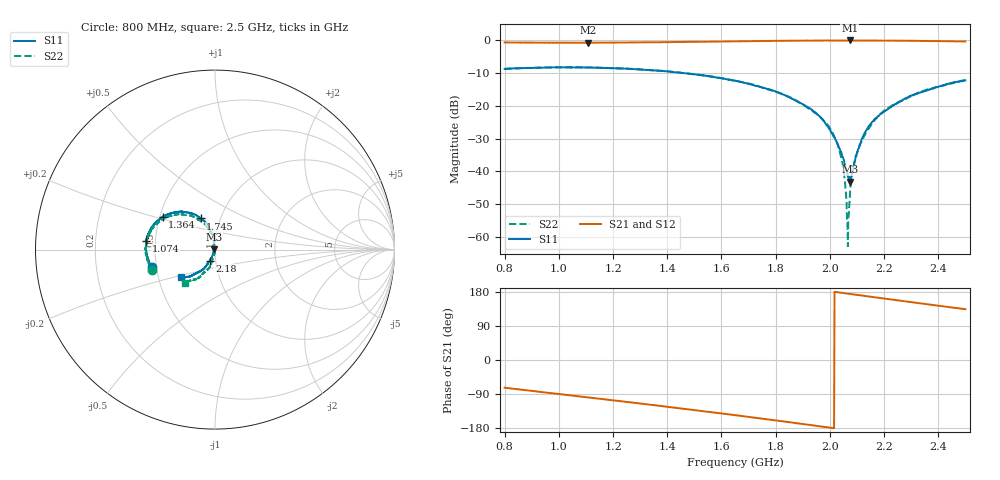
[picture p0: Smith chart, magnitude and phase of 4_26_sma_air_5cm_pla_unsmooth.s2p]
!Keysight Technologies N9950B: A.12.38
!Date: Wednesday, 26 April 2023 19:44:56
!Timezone: (UTC-06:00) Central Time (US & Canada)
!Model: N9950B
!Serial: MY61131330
!GPS Latitude:
!GPS Longitude:
!GPS TimeStamp: 0001-01-01 00:00:00Z
!GPS Seconds Since Last Read: 0
!CHECKSUM:1019755206
!Correction: S11(ON U)S21(ON U)S12(ON U)S22(ON U)
!S2P File: Measurements:S11,S21,S12,S22:
# Hz S DB R 50
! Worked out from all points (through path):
!   1001 points, 800 MHz to 2.5 GHz, reference 50 ohm
!   highest |S21| = -0.06 dB at 2.073 GHz (marker M1); lowest = -0.8 dB at 1.109 GHz (marker M2)
!   group delay of S21, straight-line fit = 251 ps
!   lowest |S11| = -43.2 dB at 2.073 GHz (marker M3), VSWR 1.01, Z = 49.3 + j0.0591 ohm
!   |S11| at or under -10 dB: 1.455061 GHz to 1.457647 GHz (2.586 MHz wide, 0.178 % of centre); 1.46 GHz to end of sweep
!   |S22| runs from -62.9 to -8.2 dB; largest |S21 - S12| = 0.0053
!   S11 on the Smith chart (normalised r, x): 800 MHz: 0.47, -0.11; 1.074 GHz: 0.44, +0.05; 1.364 GHz: 0.52, +0.21; 1.745 GHz: 0.80, +0.29; 2.18 GHz: 0.93, -0.12; 2.5 GHz: 0.65, -0.21
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8e8  -8.75 -164.5  -0.66 -73.1  -0.67 -73.2  -8.72 -162.1
1.0737e9  -8.26 172.6  -0.75 -96.0  -0.75 -95.9  -8.29 175.8
1.0839e9  -8.26 171.8  -0.73 -96.8  -0.74 -96.8  -8.30 175.0
1.1094e9  -8.32 169.4  -0.76 -98.8  -0.75 -98.8  -8.33 172.7
1.3644e9  -9.27 148.2  -0.60 -120.3  -0.61 -120.3  -9.28 151.8
1.3678e9  -9.28 147.7  -0.63 -120.7  -0.61 -120.7  -9.28 151.5
1.65e9  -12.29 123.1  -0.32 -145.5  -0.33 -145.5  -12.34 127.5
1.7452e9  -14.35 114.9  -0.22 -154.3  -0.24 -154.3  -14.22 119.7
1.9339e9  -21.29 99.2  -0.10 -172.1  -0.11 -172.2  -21.49 101.2
1.9883e9  -25.96 95.1  -0.08 -177.4  -0.09 -177.4  -25.44 97.9
2.0206e9  -30.34 100.0  -0.08 179.5  -0.07 179.6  -30.15 100.8
2.0461e9  -35.46 113.2  -0.08 177.2  -0.09 177.1  -37.17 98.8
2.0631e9  -40.30 142.5  -0.07 175.4  -0.08 175.4  -54.62 108.7
2.0682e9  -41.95 153.9  -0.08 175.0  -0.10 175.0  -54.13 -150.3
2.0733e9  -43.20 175.0  -0.06 174.4  -0.08 174.4  -47.76 -101.1
2.0835e9  -40.45 -142.3  -0.08 173.4  -0.06 173.4  -40.24 -95.2
2.1022e9  -33.93 -118.4  -0.09 171.7  -0.09 171.5  -34.11 -93.3
2.1345e9  -27.51 -112.7  -0.08 168.5  -0.07 168.4  -28.05 -101.4
2.1804e9  -23.05 -115.8  -0.12 164.1  -0.08 164.1  -22.98 -105.0
2.2178e9  -20.82 -118.1  -0.14 160.6  -0.12 160.4  -20.51 -106.6
2.3181e9  -16.39 -126.0  -0.19 151.0  -0.20 151.1  -16.45 -117.2
2.5e9  -12.26 -141.5  -0.36 134.0  -0.37 134.1  -11.99 -132.5
